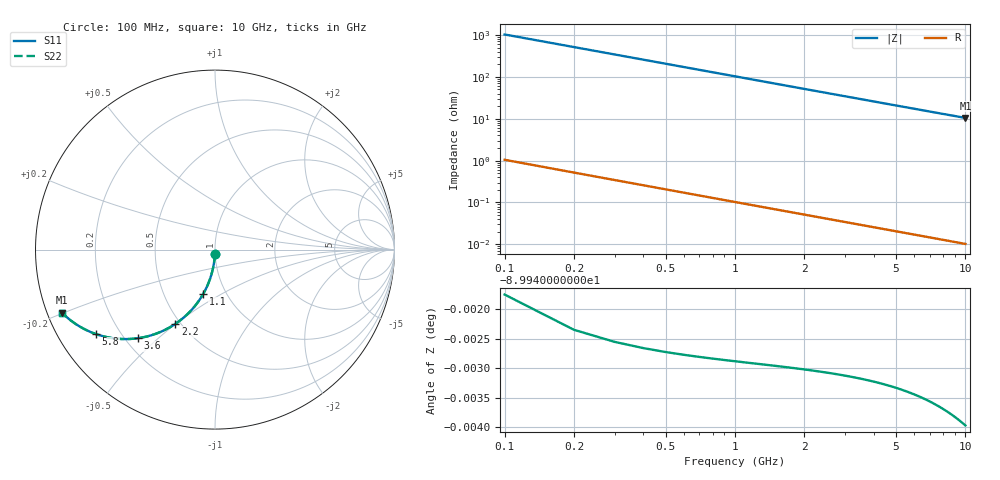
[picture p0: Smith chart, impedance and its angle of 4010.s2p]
# Hz S RI R 50.00
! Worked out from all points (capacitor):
!   100 points, 100 MHz to 10 GHz, reference 50 ohm
!   read as one part in shunt: C = 1.55 pF near 100 MHz
!   lowest |Z| = 10.5 ohm at 10 GHz (marker M1)
!   S11 on the Smith chart (normalised r, x): 100 MHz: 1.00, -0.05; 1.1 GHz: 0.78, -0.41; 2.2 GHz: 0.47, -0.50; 3.6 GHz: 0.25, -0.43; 5.8 GHz: 0.11, -0.32; 10 GHz: 0.04, -0.20
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1e8  -0.000605 -0.0242  0.9994 -0.0243  0.9994 -0.0243  -0.000605 -0.0242
2e8  -0.00239 -0.0484  0.9976 -0.0485  0.9976 -0.0485  -0.00239 -0.0484
3e8  -0.00534 -0.0724  0.9946 -0.0725  0.9946 -0.0725  -0.00534 -0.0724
4e8  -0.00943 -0.0961  0.9906 -0.0963  0.9906 -0.0963  -0.00943 -0.0961
5e8  -0.0146 -0.1195  0.9854 -0.1197  0.9854 -0.1197  -0.0146 -0.1195
6e8  -0.0209 -0.1424  0.9791 -0.1427  0.9791 -0.1427  -0.0209 -0.1424
7e8  -0.0282 -0.1649  0.9718 -0.1652  0.9718 -0.1652  -0.0282 -0.1649
9e8  -0.0457 -0.2081  0.9543 -0.2086  0.9543 -0.2086  -0.0457 -0.2081
1.1e9  -0.0667 -0.2487  0.9333 -0.2493  0.9333 -0.2493  -0.0667 -0.2487
1.4e9  -0.1036 -0.3039  0.8964 -0.3046  0.8964 -0.3046  -0.1036 -0.3039
1.8e9  -0.1602 -0.3659  0.8398 -0.3667  0.8398 -0.3667  -0.1602 -0.3659
2.2e9  -0.2215 -0.4142  0.7785 -0.4153  0.7785 -0.4153  -0.2215 -0.4142
2.8e9  -0.315 -0.4633  0.685 -0.4647  0.685 -0.4647  -0.315 -0.4633
3.4e9  -0.4036 -0.4893  0.5964 -0.491  0.5964 -0.491  -0.4036 -0.4893
3.6e9  -0.4312 -0.4939  0.5688 -0.4956  0.5688 -0.4956  -0.4312 -0.4939
4.3e9  -0.5191 -0.4981  0.4809 -0.5002  0.4809 -0.5002  -0.5191 -0.4981
5.1e9  -0.6023 -0.4876  0.3977 -0.4902  0.3977 -0.4902  -0.6023 -0.4876
5.8e9  -0.6616 -0.4712  0.3384 -0.4741  0.3384 -0.4741  -0.6616 -0.4712
6.7e9  -0.7224 -0.4456  0.2775 -0.449  0.2775 -0.449  -0.7224 -0.4456
7.5e9  -0.765 -0.4216  0.235 -0.4254  0.235 -0.4254  -0.765 -0.4216
8.4e9  -0.803 -0.3951  0.197 -0.3993  0.197 -0.3993  -0.803 -0.3951
1e10  -0.8521 -0.3519  0.1478 -0.357  0.1478 -0.357  -0.8521 -0.3519
